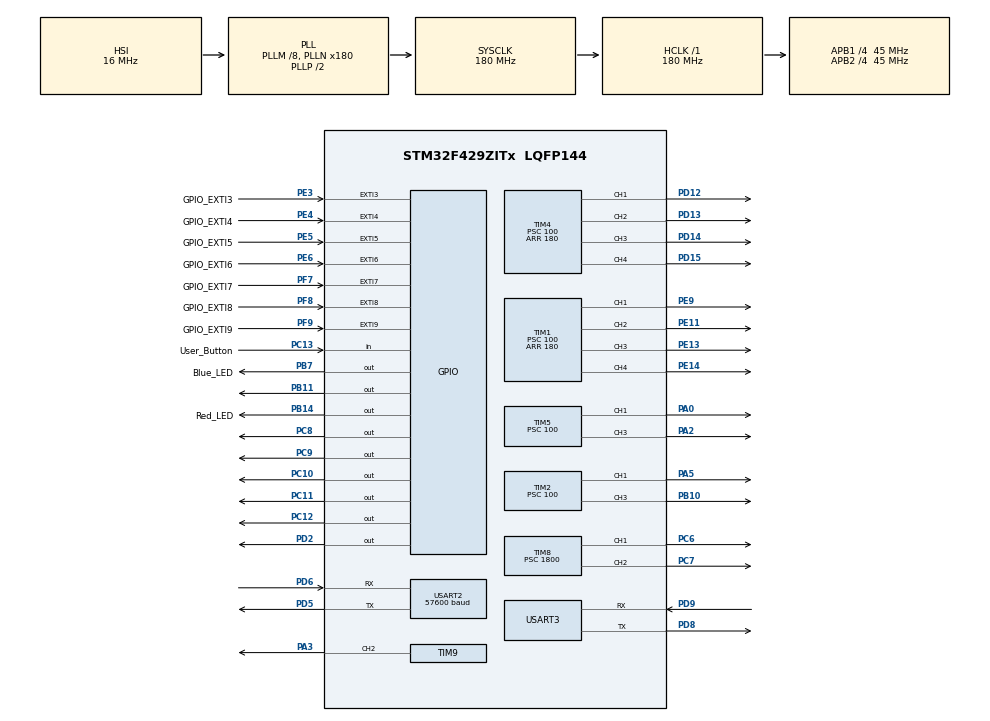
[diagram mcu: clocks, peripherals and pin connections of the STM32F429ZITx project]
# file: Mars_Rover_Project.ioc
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Mcu.Family=STM32F4
Mcu.Name=STM32F429ZITx
Mcu.Package=LQFP144
NVIC.EXTI3_IRQn=true\:0\:0\:false\:false\:true\:true
NVIC.EXTI4_IRQn=true\:0\:0\:false\:false\:true\:true
NVIC.EXTI9_5_IRQn=true\:0\:0\:false\:false\:true\:true
NVIC.PriorityGroup=NVIC_PRIORITYGROUP_4
NVIC.TIM1_TRG_COM_TIM11_IRQn=true\:0\:0\:false\:false\:true\:true
NVIC.TIM1_UP_TIM10_IRQn=true\:0\:0\:false\:false\:true\:true
NVIC.USART2_IRQn=true\:0\:0\:false\:false\:true\:true
NVIC.USART3_IRQn=true\:0\:0\:false\:false\:true\:true
PA0/WKUP.GPIO_ModeDefaultPP=GPIO_MODE_AF_PP
PA0/WKUP.GPIO_Speed=GPIO_SPEED_FREQ_HIGH
PA0/WKUP.Signal=S_TIM5_CH1
PA13.Mode=Serial_Wire
PA13.Signal=SYS_JTMS-SWDIO
PA14.Mode=Serial_Wire
PA14.Signal=SYS_JTCK-SWCLK
PA2.GPIO_ModeDefaultPP=GPIO_MODE_AF_PP
PA2.GPIO_Speed=GPIO_SPEED_FREQ_HIGH
PA2.Signal=S_TIM5_CH3
PA3.Signal=S_TIM9_CH2
PA5.GPIO_ModeDefaultPP=GPIO_MODE_AF_PP
PA5.GPIO_Speed=GPIO_SPEED_FREQ_HIGH
PA5.Signal=S_TIM2_CH1_ETR
PB10.GPIO_ModeDefaultPP=GPIO_MODE_AF_PP
PB10.GPIO_Speed=GPIO_SPEED_FREQ_HIGH
PB10.Signal=S_TIM2_CH3
PB11.GPIO_ModeDefaultOutputPP=GPIO_MODE_OUTPUT_OD
PB11.GPIO_Speed=GPIO_SPEED_FREQ_HIGH
PB11.PinState=GPIO_PIN_RESET
PB11.Signal=GPIO_Output
PB14.GPIO_Label=Red_LED
PB14.Signal=GPIO_Output
PB7.GPIO_Label=Blue_LED
PB7.Signal=GPIO_Output
PC10.Signal=GPIO_Output
PC11.Signal=GPIO_Output
PC12.Signal=GPIO_Output
PC13.GPIO_Label=User_Button
PC13.GPIO_PuPd=GPIO_PULLUP
PC13.Signal=GPIO_Input
PC14/OSC32_IN.Mode=LSE-External-Oscillator
PC14/OSC32_IN.Signal=RCC_OSC32_IN
PC15/OSC32_OUT.Mode=LSE-External-Oscillator
PC15/OSC32_OUT.Signal=RCC_OSC32_OUT
PC6.Signal=S_TIM8_CH1
PC7.Signal=S_TIM8_CH2
PC8.Signal=GPIO_Output
PC9.Signal=GPIO_Output
PD12.GPIO_ModeDefaultPP=GPIO_MODE_AF_PP
PD12.GPIO_Speed=GPIO_SPEED_FREQ_HIGH
PD12.Signal=S_TIM4_CH1
PD13.GPIO_ModeDefaultPP=GPIO_MODE_AF_PP
PD13.GPIO_Speed=GPIO_SPEED_FREQ_HIGH
PD13.Signal=S_TIM4_CH2
PD14.GPIO_ModeDefaultPP=GPIO_MODE_AF_PP
PD14.GPIO_Speed=GPIO_SPEED_FREQ_HIGH
PD14.Signal=S_TIM4_CH3
PD15.GPIO_ModeDefaultPP=GPIO_MODE_AF_PP
PD15.GPIO_Speed=GPIO_SPEED_FREQ_HIGH
PD15.Signal=S_TIM4_CH4
PD2.Signal=GPIO_Output
PD5.Mode=Asynchronous
PD5.Signal=USART2_TX
PD6.Mode=Asynchronous
PD6.Signal=USART2_RX
PD8.Mode=Asynchronous
PD8.Signal=USART3_TX
PD9.Mode=Asynchronous
PD9.Signal=USART3_RX
PE11.GPIO_ModeDefaultPP=GPIO_MODE_AF_PP
PE11.GPIO_Speed=GPIO_SPEED_FREQ_HIGH
PE11.Signal=S_TIM1_CH2
PE13.GPIO_ModeDefaultPP=GPIO_MODE_AF_PP
PE13.GPIO_Speed=GPIO_SPEED_FREQ_HIGH
PE13.Signal=S_TIM1_CH3
PE14.GPIO_ModeDefaultPP=GPIO_MODE_AF_PP
PE14.GPIO_Speed=GPIO_SPEED_FREQ_HIGH
PE14.Signal=S_TIM1_CH4
PE3.GPIO_Label=GPIO_EXTI3
PE3.GPIO_ModeDefaultEXTI=GPIO_MODE_IT_RISING
PE3.GPIO_PuPd=GPIO_PULLUP
PE3.Signal=GPXTI3
PE4.GPIO_Label=GPIO_EXTI4
PE4.GPIO_ModeDefaultEXTI=GPIO_MODE_IT_RISING
PE4.GPIO_PuPd=GPIO_PULLUP
PE4.Signal=GPXTI4
PE5.GPIO_Label=GPIO_EXTI5
PE5.GPIO_ModeDefaultEXTI=GPIO_MODE_IT_RISING
PE5.GPIO_PuPd=GPIO_PULLUP
PE5.Signal=GPXTI5
PE6.GPIO_Label=GPIO_EXTI6
PE6.GPIO_ModeDefaultEXTI=GPIO_MODE_IT_RISING
PE6.GPIO_PuPd=GPIO_PULLUP
PE6.Signal=GPXTI6
PE9.GPIO_ModeDefaultPP=GPIO_MODE_AF_PP
PE9.GPIO_Speed=GPIO_SPEED_FREQ_HIGH
PE9.Signal=S_TIM1_CH1
PF7.GPIO_Label=GPIO_EXTI7
PF7.GPIO_ModeDefaultEXTI=GPIO_MODE_IT_RISING
PF7.GPIO_PuPd=GPIO_PULLUP
PF7.Signal=GPXTI7
PF8.GPIO_Label=GPIO_EXTI8
PF8.GPIO_ModeDefaultEXTI=GPIO_MODE_IT_RISING
PF8.GPIO_PuPd=GPIO_PULLUP
PF8.Signal=GPXTI8
PF9.GPIO_Label=GPIO_EXTI9
PF9.GPIO_ModeDefaultEXTI=GPIO_MODE_IT_RISING
PF9.GPIO_PuPd=GPIO_PULLUP
PF9.Signal=GPXTI9
ProjectManager.HeapSize=0x200
ProjectManager.StackSize=0x400
ProjectManager.TargetToolchain=SW4STM32
RCC.48MHZClocksFreq_Value=90000000
RCC.AHBFreq_Value=180000000
RCC.APB1CLKDivider=RCC_HCLK_DIV4
RCC.APB1Freq_Value=45000000
RCC.APB1TimFreq_Value=90000000
RCC.APB2CLKDivider=RCC_HCLK_DIV4
RCC.APB2Freq_Value=45000000
RCC.APB2TimFreq_Value=90000000
RCC.CortexFreq_Value=180000000
RCC.HCLKFreq_Value=180000000
RCC.HSE_VALUE=25000000
RCC.HSI_VALUE=16000000
RCC.PLLM=8
RCC.PLLN=180
RCC.RCC_RTC_Clock_Source=RCC_RTCCLKSOURCE_LSE
RCC.RCC_RTC_Clock_SourceVirtual=RCC_RTCCLKSOURCE_LSE
RCC.SYSCLKFreq_VALUE=180000000
RCC.SYSCLKSource=RCC_SYSCLKSOURCE_PLLCLK
RCC.VCOOutputFreq_Value=360000000
SH.S_TIM1_CH1.0=TIM1_CH1,PWM Generation1 CH1
SH.S_TIM1_CH2.0=TIM1_CH2,PWM Generation2 CH2
SH.S_TIM1_CH3.0=TIM1_CH3,PWM Generation3 CH3
SH.S_TIM1_CH4.0=TIM1_CH4,PWM Generation4 CH4
SH.S_TIM2_CH1_ETR.0=TIM2_CH1,PWM Generation1 CH1
SH.S_TIM2_CH3.0=TIM2_CH3,PWM Generation3 CH3
SH.S_TIM4_CH1.0=TIM4_CH1,PWM Generation1 CH1
SH.S_TIM4_CH2.0=TIM4_CH2,PWM Generation2 CH2
SH.S_TIM4_CH3.0=TIM4_CH3,PWM Generation3 CH3
SH.S_TIM4_CH4.0=TIM4_CH4,PWM Generation4 CH4
SH.S_TIM5_CH1.0=TIM5_CH1,PWM Generation1 CH1
SH.S_TIM5_CH3.0=TIM5_CH3,PWM Generation3 CH3
SH.S_TIM8_CH1.0=TIM8_CH1,PWM Generation1 CH1
SH.S_TIM8_CH2.0=TIM8_CH2,PWM Generation2 CH2
SH.S_TIM9_CH2.0=TIM9_CH2,PWM Generation2 CH2
TIM1.Channel-PWM\ Generation1\ CH1=TIM_CHANNEL_1
TIM1.Channel-PWM\ Generation2\ CH2=TIM_CHANNEL_2
TIM1.Channel-PWM\ Generation3\ CH3=TIM_CHANNEL_3
TIM1.Channel-PWM\ Generation4\ CH4=TIM_CHANNEL_4
TIM1.OCFastMode_PWM-PWM\ Generation1\ CH1=TIM_OCFAST_ENABLE
TIM1.OCFastMode_PWM-PWM\ Generation2\ CH2=TIM_OCFAST_ENABLE
TIM1.OCFastMode_PWM-PWM\ Generation3\ CH3=TIM_OCFAST_ENABLE
TIM1.OCFastMode_PWM-PWM\ Generation4\ CH4=TIM_OCFAST_ENABLE
TIM1.Period=180
TIM1.Prescaler=100
TIM2.Channel-PWM\ Generation1\ CH1=TIM_CHANNEL_1
TIM2.Channel-PWM\ Generation3\ CH3=TIM_CHANNEL_3
TIM2.OCFastMode_PWM-PWM\ Generation1\ CH1=TIM_OCFAST_ENABLE
TIM2.OCFastMode_PWM-PWM\ Generation3\ CH3=TIM_OCFAST_ENABLE
TIM2.OCMode_PWM-PWM\ Generation1\ CH1=TIM_OCMODE_PWM1
TIM2.OCMode_PWM-PWM\ Generation3\ CH3=TIM_OCMODE_PWM1
TIM2.OCPolarity_3=TIM_OCPOLARITY_HIGH
TIM2.Period=180
TIM2.Prescaler=100
TIM2.Pulse-PWM\ Generation1\ CH1=0
TIM2.Pulse-PWM\ Generation3\ CH3=0
TIM3.Period=40000
TIM3.Prescaler=45
TIM4.Channel-PWM\ Generation1\ CH1=TIM_CHANNEL_1
TIM4.Channel-PWM\ Generation2\ CH2=TIM_CHANNEL_2
TIM4.Channel-PWM\ Generation3\ CH3=TIM_CHANNEL_3
TIM4.Channel-PWM\ Generation4\ CH4=TIM_CHANNEL_4
TIM4.OCFastMode_PWM-PWM\ Generation1\ CH1=TIM_OCFAST_ENABLE
TIM4.OCFastMode_PWM-PWM\ Generation2\ CH2=TIM_OCFAST_ENABLE
TIM4.OCFastMode_PWM-PWM\ Generation3\ CH3=TIM_OCFAST_ENABLE
TIM4.OCFastMode_PWM-PWM\ Generation4\ CH4=TIM_OCFAST_ENABLE
TIM4.Period=180
TIM4.Prescaler=100
TIM5.Channel-PWM\ Generation1\ CH1=TIM_CHANNEL_1
TIM5.Channel-PWM\ Generation3\ CH3=TIM_CHANNEL_3
TIM5.OCFastMode_PWM-PWM\ Generation1\ CH1=TIM_OCFAST_ENABLE
TIM5.Period=180
TIM5.Prescaler=100
TIM8.Channel-PWM\ Generation1\ CH1=TIM_CHANNEL_1
TIM8.Channel-PWM\ Generation2\ CH2=TIM_CHANNEL_2
TIM8.Period=1000
TIM8.Prescaler=1800
TIM8.Pulse-PWM\ Generation1\ CH1=50
TIM8.Pulse-PWM\ Generation2\ CH2=250
TIM9.Channel-PWM\ Generation2\ CH2=TIM_CHANNEL_2
TIM9.Period=1000
TIM9.Prescaler=1800
TIM9.Pulse-PWM\ Generation2\ CH2=250
USART2.BaudRate=57600
USART2.VirtualMode=VM_ASYNC
USART3.VirtualMode=VM_ASYNC
VP_RTC_VS_RTC_Activate.Mode=RTC_Enabled
VP_TIM1_VS_ClockSourceINT.Mode=Internal
VP_TIM2_VS_ClockSourceINT.Mode=Internal
VP_TIM3_VS_ClockSourceINT.Mode=Internal
VP_TIM4_VS_ClockSourceINT.Mode=Internal
VP_TIM5_VS_ClockSourceINT.Mode=Internal
board=custom

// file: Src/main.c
/**
  ******************************************************************************
  * @file           : main.c
  * @brief          : Main program body
  ******************************************************************************
  ** This notice applies to any and all portions of this file
  * that are not between comment pairs USER CODE BEGIN and
  * USER CODE END. Other portions of this file, whether
  * inserted by the user or by software development tools
  * are owned by their respective copyright owners.
  *
  * COPYRIGHT(c) 2018 STMicroelectronics
  *
  * Redistribution and use in source and binary forms, with or without modification,
  * are permitted provided that the following conditions are met:
  *   1. Redistributions of source code must retain the above copyright notice,
  *      this list of conditions and the following disclaimer.
  *   2. Redistributions in binary form must reproduce the above copyright notice,
  *      this list of conditions and the following disclaimer in the documentation
  *      and/or other materials provided with the distribution.
  *   3. Neither the name of STMicroelectronics nor the names of its contributors
  *      may be used to endorse or promote products derived from this software
  *      without specific prior written permission.
  *
  * THIS SOFTWARE IS PROVIDED BY THE COPYRIGHT HOLDERS AND CONTRIBUTORS "AS IS"
  * AND ANY EXPRESS OR IMPLIED WARRANTIES, INCLUDING, BUT NOT LIMITED TO, THE
  * IMPLIED WARRANTIES OF MERCHANTABILITY AND FITNESS FOR A PARTICULAR PURPOSE ARE
  * DISCLAIMED. IN NO EVENT SHALL THE COPYRIGHT HOLDER OR CONTRIBUTORS BE LIABLE
  * FOR ANY DIRECT, INDIRECT, INCIDENTAL, SPECIAL, EXEMPLARY, OR CONSEQUENTIAL
  * DAMAGES (INCLUDING, BUT NOT LIMITED TO, PROCUREMENT OF SUBSTITUTE GOODS OR
  * SERVICES; LOSS OF USE, DATA, OR PROFITS; OR BUSINESS INTERRUPTION) HOWEVER
  * CAUSED AND ON ANY THEORY OF LIABILITY, WHETHER IN CONTRACT, STRICT LIABILITY,
  * OR TORT (INCLUDING NEGLIGENCE OR OTHERWISE) ARISING IN ANY WAY OUT OF THE USE
  * OF THIS SOFTWARE, EVEN IF ADVISED OF THE POSSIBILITY OF SUCH DAMAGE.
  *
  ******************************************************************************
  */
#include "main.h"
#include "stm32f4xx_hal.h"

/* USER CODE BEGIN Includes */
#include "Robot_kjy.h"
#include "Robot_lwj.h"
#include "Robot_jhm.h"
#include "Robot_khy.h"
#include "robotics_arm.h"
#include <string.h>
/* USER CODE END Includes */

RTC_HandleTypeDef hrtc;

TIM_HandleTypeDef htim1;
TIM_HandleTypeDef htim2;
TIM_HandleTypeDef htim3;
TIM_HandleTypeDef htim4;
TIM_HandleTypeDef htim5;
TIM_HandleTypeDef htim8;
TIM_HandleTypeDef htim9;

UART_HandleTypeDef huart2;
UART_HandleTypeDef huart3;

/* USER CODE BEGIN PV */

//  1탭은 4스페이스

/* Private variables ---------------------------------------------------------*/

// Wheel_Speed, 이곳에 값을 이용.
volatile uint32_t Wheel_Speed;
volatile uint32_t Break_PWM;

/* USER CODE END PV */

void SystemClock_Config(void);
static void MX_GPIO_Init(void);
static void MX_USART3_UART_Init(void);
static void MX_TIM1_Init(void);
static void MX_TIM2_Init(void);
static void MX_RTC_Init(void);
static void MX_TIM3_Init(void);
static void MX_TIM4_Init(void);
static void MX_TIM5_Init(void);
static void MX_TIM8_Init(void);
static void MX_USART2_UART_Init(void);
static void MX_TIM9_Init(void);

void HAL_TIM_MspPostInit(TIM_HandleTypeDef *htim);

/* USER CODE BEGIN PFP */
/* Private function prototypes -----------------------------------------------*/

/*
 * 타이머 업데이트 콜백함수
 * 인터럽트에 맞춰 실행할 함수나 코드를 작성하여 밑에다가 작성
 * 작성시 if문을 사용하여 htim->instance 의 TIM이 몇인지 확인하고 실행하는 코드를 사용
 * ex)  if(htim->instance == TIM10){}
 * */

void HAL_GPIO_EXTI_Callback(uint16_t GPIO_Pin)
{
    RC_Return_dutycycle(GPIO_Pin);
}
/* USER CODE END PFP */

int main(void)
{

  /* MCU Configuration----------------------------------------------------------*/

  /* Reset of all peripherals, Initializes the Flash interface and the Systick. */
  HAL_Init();

  /* Configure the system clock */
  SystemClock_Config();

  /* Initialize all configured peripherals */
  MX_GPIO_Init();
  MX_USART3_UART_Init();
  MX_TIM1_Init();
  MX_TIM2_Init();
  MX_RTC_Init();
  MX_TIM3_Init();
  MX_TIM4_Init();
  MX_TIM5_Init();
  MX_TIM8_Init();
  MX_USART2_UART_Init();
  MX_TIM9_Init();
  /* USER CODE BEGIN 2 */

  HAL_TIM_PWM_Start_IT(&htim1, TIM_CHANNEL_1);	// 6개 바퀴 PWM발생. (주기 5kHz 발생)
  HAL_TIM_PWM_Start_IT(&htim1, TIM_CHANNEL_2);
  HAL_TIM_PWM_Start_IT(&htim1, TIM_CHANNEL_3);
  HAL_TIM_PWM_Start_IT(&htim1, TIM_CHANNEL_4);
  HAL_TIM_PWM_Start_IT(&htim2, TIM_CHANNEL_1);
  HAL_TIM_PWM_Start_IT(&htim2, TIM_CHANNEL_3);

  HAL_TIM_PWM_Start_IT(&htim4, TIM_CHANNEL_1);  // 6개 바퀴 PWM발생. (주기 5kHz 발생)
  HAL_TIM_PWM_Start_IT(&htim4, TIM_CHANNEL_2);
  HAL_TIM_PWM_Start_IT(&htim4, TIM_CHANNEL_3);
  HAL_TIM_PWM_Start_IT(&htim4, TIM_CHANNEL_4);
  HAL_TIM_PWM_Start_IT(&htim5, TIM_CHANNEL_1);
  HAL_TIM_PWM_Start_IT(&htim5, TIM_CHANNEL_3);

  HAL_TIM_Base_Start(&htim3);
  TIM3->CNT = 0;
  uint32_t mode;
  ARM_init();
  /* USER CODE END 2 */

  /* Infinite loop */
  /* USER CODE BEGIN WHILE */
  while (1)
  {
    mode = Mode_select();
    BUGI_DriveMode(mode);

  /* USER CODE END WHILE */

  }

}

void SystemClock_Config(void)
{

  RCC_OscInitTypeDef RCC_OscInitStruct;
  RCC_ClkInitTypeDef RCC_ClkInitStruct;
  RCC_PeriphCLKInitTypeDef PeriphClkInitStruct;

    /**Configure the main internal regulator output voltage
    */
  __HAL_RCC_PWR_CLK_ENABLE();

  __HAL_PWR_VOLTAGESCALING_CONFIG(PWR_REGULATOR_VOLTAGE_SCALE1);

    /**Initializes the CPU, AHB and APB busses clocks
    */
  RCC_OscInitStruct.OscillatorType = RCC_OSCILLATORTYPE_HSI|RCC_OSCILLATORTYPE_LSE;
  RCC_OscInitStruct.LSEState = RCC_LSE_ON;
  RCC_OscInitStruct.HSIState = RCC_HSI_ON;
  RCC_OscInitStruct.HSICalibrationValue = 16;
  RCC_OscInitStruct.PLL.PLLState = RCC_PLL_ON;
  RCC_OscInitStruct.PLL.PLLSource = RCC_PLLSOURCE_HSI;
  RCC_OscInitStruct.PLL.PLLM = 8;
  RCC_OscInitStruct.PLL.PLLN = 180;
  RCC_OscInitStruct.PLL.PLLP = RCC_PLLP_DIV2;
  RCC_OscInitStruct.PLL.PLLQ = 4;
  if (HAL_RCC_OscConfig(&RCC_OscInitStruct) != HAL_OK)
  {
    _Error_Handler(__FILE__, __LINE__);
  }

    /**Activate the Over-Drive mode
    */
  if (HAL_PWREx_EnableOverDrive() != HAL_OK)
  {
    _Error_Handler(__FILE__, __LINE__);
  }

    /**Initializes the CPU, AHB and APB busses clocks
    */
  RCC_ClkInitStruct.ClockType = RCC_CLOCKTYPE_HCLK|RCC_CLOCKTYPE_SYSCLK
                              |RCC_CLOCKTYPE_PCLK1|RCC_CLOCKTYPE_PCLK2;
  RCC_ClkInitStruct.SYSCLKSource = RCC_SYSCLKSOURCE_PLLCLK;
  RCC_ClkInitStruct.AHBCLKDivider = RCC_SYSCLK_DIV1;
  RCC_ClkInitStruct.APB1CLKDivider = RCC_HCLK_DIV4;
  RCC_ClkInitStruct.APB2CLKDivider = RCC_HCLK_DIV4;

  if (HAL_RCC_ClockConfig(&RCC_ClkInitStruct, FLASH_LATENCY_5) != HAL_OK)
  {
    _Error_Handler(__FILE__, __LINE__);
  }

  PeriphClkInitStruct.PeriphClockSelection = RCC_PERIPHCLK_RTC;
  PeriphClkInitStruct.RTCClockSelection = RCC_RTCCLKSOURCE_LSE;
  if (HAL_RCCEx_PeriphCLKConfig(&PeriphClkInitStruct) != HAL_OK)
  {
    _Error_Handler(__FILE__, __LINE__);
  }

    /**Configure the Systick interrupt time
    */
  HAL_SYSTICK_Config(HAL_RCC_GetHCLKFreq()/1000);

    /**Configure the Systick
    */
  HAL_SYSTICK_CLKSourceConfig(SYSTICK_CLKSOURCE_HCLK);

  /* SysTick_IRQn interrupt configuration */
  HAL_NVIC_SetPriority(SysTick_IRQn, 0, 0);
}

/* RTC init function */
static void MX_RTC_Init(void)
{

    /**Initialize RTC Only
    */
  hrtc.Instance = RTC;
  hrtc.Init.HourFormat = RTC_HOURFORMAT_24;
  hrtc.Init.AsynchPrediv = 127;
  hrtc.Init.SynchPrediv = 255;
  hrtc.Init.OutPut = RTC_OUTPUT_DISABLE;
  hrtc.Init.OutPutPolarity = RTC_OUTPUT_POLARITY_HIGH;
  hrtc.Init.OutPutType = RTC_OUTPUT_TYPE_OPENDRAIN;
  if (HAL_RTC_Init(&hrtc) != HAL_OK)
  {
    _Error_Handler(__FILE__, __LINE__);
  }

}

/* TIM1 init function */
static void MX_TIM1_Init(void)
{

  TIM_ClockConfigTypeDef sClockSourceConfig;
  TIM_MasterConfigTypeDef sMasterConfig;
  TIM_OC_InitTypeDef sConfigOC;
  TIM_BreakDeadTimeConfigTypeDef sBreakDeadTimeConfig;

  htim1.Instance = TIM1;
  htim1.Init.Prescaler = 100;
  htim1.Init.CounterMode = TIM_COUNTERMODE_UP;
  htim1.Init.Period = 180;
  htim1.Init.ClockDivision = TIM_CLOCKDIVISION_DIV1;
  htim1.Init.RepetitionCounter = 0;
  if (HAL_TIM_Base_Init(&htim1) != HAL_OK)
  {
    _Error_Handler(__FILE__, __LINE__);
  }

  sClockSourceConfig.ClockSource = TIM_CLOCKSOURCE_INTERNAL;
  if (HAL_TIM_ConfigClockSource(&htim1, &sClockSourceConfig) != HAL_OK)
  {
    _Error_Handler(__FILE__, __LINE__);
  }

  if (HAL_TIM_PWM_Init(&htim1) != HAL_OK)
  {
    _Error_Handler(__FILE__, __LINE__);
  }

  sMasterConfig.MasterOutputTrigger = TIM_TRGO_RESET;
  sMasterConfig.MasterSlaveMode = TIM_MASTERSLAVEMODE_DISABLE;
  if (HAL_TIMEx_MasterConfigSynchronization(&htim1, &sMasterConfig) != HAL_OK)
  {
    _Error_Handler(__FILE__, __LINE__);
  }

  sConfigOC.OCMode = TIM_OCMODE_PWM1;
  sConfigOC.Pulse = 0;
  sConfigOC.OCPolarity = TIM_OCPOLARITY_HIGH;
  sConfigOC.OCNPolarity = TIM_OCNPOLARITY_HIGH;
  sConfigOC.OCFastMode = TIM_OCFAST_ENABLE;
  sConfigOC.OCIdleState = TIM_OCIDLESTATE_RESET;
  sConfigOC.OCNIdleState = TIM_OCNIDLESTATE_RESET;
  if (HAL_TIM_PWM_ConfigChannel(&htim1, &sConfigOC, TIM_CHANNEL_1) != HAL_OK)
  {
    _Error_Handler(__FILE__, __LINE__);
  }

  if (HAL_TIM_PWM_ConfigChannel(&htim1, &sConfigOC, TIM_CHANNEL_2) != HAL_OK)
  {
    _Error_Handler(__FILE__, __LINE__);
  }

  if (HAL_TIM_PWM_ConfigChannel(&htim1, &sConfigOC, TIM_CHANNEL_3) != HAL_OK)
  {
    _Error_Handler(__FILE__, __LINE__);
  }

  if (HAL_TIM_PWM_ConfigChannel(&htim1, &sConfigOC, TIM_CHANNEL_4) != HAL_OK)
  {
    _Error_Handler(__FILE__, __LINE__);
  }

  sBreakDeadTimeConfig.OffStateRunMode = TIM_OSSR_DISABLE;
  sBreakDeadTimeConfig.OffStateIDLEMode = TIM_OSSI_DISABLE;
  sBreakDeadTimeConfig.LockLevel = TIM_LOCKLEVEL_OFF;
  sBreakDeadTimeConfig.DeadTime = 0;
  sBreakDeadTimeConfig.BreakState = TIM_BREAK_DISABLE;
  sBreakDeadTimeConfig.BreakPolarity = TIM_BREAKPOLARITY_HIGH;
  sBreakDeadTimeConfig.AutomaticOutput = TIM_AUTOMATICOUTPUT_DISABLE;
  if (HAL_TIMEx_ConfigBreakDeadTime(&htim1, &sBreakDeadTimeConfig) != HAL_OK)
  {
    _Error_Handler(__FILE__, __LINE__);
  }

  HAL_TIM_MspPostInit(&htim1);

}

/* TIM2 init function */
static void MX_TIM2_Init(void)
{

  TIM_ClockConfigTypeDef sClockSourceConfig;
  TIM_MasterConfigTypeDef sMasterConfig;
  TIM_OC_InitTypeDef sConfigOC;

  htim2.Instance = TIM2;
  htim2.Init.Prescaler = 100;
  htim2.Init.CounterMode = TIM_COUNTERMODE_UP;
  htim2.Init.Period = 180;
  htim2.Init.ClockDivision = TIM_CLOCKDIVISION_DIV1;
  if (HAL_TIM_Base_Init(&htim2) != HAL_OK)
  {
    _Error_Handler(__FILE__, __LINE__);
  }

  sClockSourceConfig.ClockSource = TIM_CLOCKSOURCE_INTERNAL;
  if (HAL_TIM_ConfigClockSource(&htim2, &sClockSourceConfig) != HAL_OK)
  {
    _Error_Handler(__FILE__, __LINE__);
  }

  if (HAL_TIM_PWM_Init(&htim2) != HAL_OK)
  {
    _Error_Handler(__FILE__, __LINE__);
  }

  sMasterConfig.MasterOutputTrigger = TIM_TRGO_RESET;
  sMasterConfig.MasterSlaveMode = TIM_MASTERSLAVEMODE_DISABLE;
  if (HAL_TIMEx_MasterConfigSynchronization(&htim2, &sMasterConfig) != HAL_OK)
  {
    _Error_Handler(__FILE__, __LINE__);
  }

  sConfigOC.OCMode = TIM_OCMODE_PWM1;
  sConfigOC.Pulse = 0;
  sConfigOC.OCPolarity = TIM_OCPOLARITY_HIGH;
  sConfigOC.OCFastMode = TIM_OCFAST_ENABLE;
  if (HAL_TIM_PWM_ConfigChannel(&htim2, &sConfigOC, TIM_CHANNEL_1) != HAL_OK)
  {
    _Error_Handler(__FILE__, __LINE__);
  }

  if (HAL_TIM_PWM_ConfigChannel(&htim2, &sConfigOC, TIM_CHANNEL_3) != HAL_OK)
  {
    _Error_Handler(__FILE__, __LINE__);
  }

  HAL_TIM_MspPostInit(&htim2);

}

/* TIM3 init function */
static void MX_TIM3_Init(void)
{

  TIM_ClockConfigTypeDef sClockSourceConfig;
  TIM_MasterConfigTypeDef sMasterConfig;

  htim3.Instance = TIM3;
  htim3.Init.Prescaler = 45;
  htim3.Init.CounterMode = TIM_COUNTERMODE_UP;
  htim3.Init.Period = 40000;
  htim3.Init.ClockDivision = TIM_CLOCKDIVISION_DIV1;
  if (HAL_TIM_Base_Init(&htim3) != HAL_OK)
  {
    _Error_Handler(__FILE__, __LINE__);
  }

  sClockSourceConfig.ClockSource = TIM_CLOCKSOURCE_INTERNAL;
  if (HAL_TIM_ConfigClockSource(&htim3, &sClockSourceConfig) != HAL_OK)
  {
    _Error_Handler(__FILE__, __LINE__);
  }

  sMasterConfig.MasterOutputTrigger = TIM_TRGO_RESET;
  sMasterConfig.MasterSlaveMode = TIM_MASTERSLAVEMODE_DISABLE;
  if (HAL_TIMEx_MasterConfigSynchronization(&htim3, &sMasterConfig) != HAL_OK)
  {
    _Error_Handler(__FILE__, __LINE__);
  }

}

/* TIM4 init function */
static void MX_TIM4_Init(void)
{

  TIM_ClockConfigTypeDef sClockSourceConfig;
  TIM_MasterConfigTypeDef sMasterConfig;
  TIM_OC_InitTypeDef sConfigOC;

  htim4.Instance = TIM4;
  htim4.Init.Prescaler = 100;
  htim4.Init.CounterMode = TIM_COUNTERMODE_UP;
  htim4.Init.Period = 180;
  htim4.Init.ClockDivision = TIM_CLOCKDIVISION_DIV1;
  if (HAL_TIM_Base_Init(&htim4) != HAL_OK)
  {
    _Error_Handler(__FILE__, __LINE__);
  }

  sClockSourceConfig.ClockSource = TIM_CLOCKSOURCE_INTERNAL;
  if (HAL_TIM_ConfigClockSource(&htim4, &sClockSourceConfig) != HAL_OK)
  {
    _Error_Handler(__FILE__, __LINE__);
  }

  if (HAL_TIM_PWM_Init(&htim4) != HAL_OK)
  {
    _Error_Handler(__FILE__, __LINE__);
  }

  sMasterConfig.MasterOutputTrigger = TIM_TRGO_RESET;
  sMasterConfig.MasterSlaveMode = TIM_MASTERSLAVEMODE_DISABLE;
  if (HAL_TIMEx_MasterConfigSynchronization(&htim4, &sMasterConfig) != HAL_OK)
  {
    _Error_Handler(__FILE__, __LINE__);
  }

  sConfigOC.OCMode = TIM_OCMODE_PWM1;
  sConfigOC.Pulse = 0;
  sConfigOC.OCPolarity = TIM_OCPOLARITY_HIGH;
  sConfigOC.OCFastMode = TIM_OCFAST_ENABLE;
  if (HAL_TIM_PWM_ConfigChannel(&htim4, &sConfigOC, TIM_CHANNEL_1) != HAL_OK)
  {
    _Error_Handler(__FILE__, __LINE__);
  }

  if (HAL_TIM_PWM_ConfigChannel(&htim4, &sConfigOC, TIM_CHANNEL_2) != HAL_OK)
  {
    _Error_Handler(__FILE__, __LINE__);
  }

  if (HAL_TIM_PWM_ConfigChannel(&htim4, &sConfigOC, TIM_CHANNEL_3) != HAL_OK)
  {
    _Error_Handler(__FILE__, __LINE__);
  }

  if (HAL_TIM_PWM_ConfigChannel(&htim4, &sConfigOC, TIM_CHANNEL_4) != HAL_OK)
  {
    _Error_Handler(__FILE__, __LINE__);
  }

  HAL_TIM_MspPostInit(&htim4);

}

/* TIM5 init function */
static void MX_TIM5_Init(void)
{

  TIM_ClockConfigTypeDef sClockSourceConfig;
  TIM_MasterConfigTypeDef sMasterConfig;
  TIM_OC_InitTypeDef sConfigOC;

  htim5.Instance = TIM5;
  htim5.Init.Prescaler = 100;
  htim5.Init.CounterMode = TIM_COUNTERMODE_UP;
  htim5.Init.Period = 180;
  htim5.Init.ClockDivision = TIM_CLOCKDIVISION_DIV1;
  if (HAL_TIM_Base_Init(&htim5) != HAL_OK)
  {
    _Error_Handler(__FILE__, __LINE__);
  }

  sClockSourceConfig.ClockSource = TIM_CLOCKSOURCE_INTERNAL;
  if (HAL_TIM_ConfigClockSource(&htim5, &sClockSourceConfig) != HAL_OK)
  {
    _Error_Handler(__FILE__, __LINE__);
  }

  if (HAL_TIM_PWM_Init(&htim5) != HAL_OK)
  {
    _Error_Handler(__FILE__, __LINE__);
  }

  sMasterConfig.MasterOutputTrigger = TIM_TRGO_RESET;
  sMasterConfig.MasterSlaveMode = TIM_MASTERSLAVEMODE_DISABLE;
  if (HAL_TIMEx_MasterConfigSynchronization(&htim5, &sMasterConfig) != HAL_OK)
  {
    _Error_Handler(__FILE__, __LINE__);
  }

  sConfigOC.OCMode = TIM_OCMODE_PWM1;
  sConfigOC.Pulse = 0;
  sConfigOC.OCPolarity = TIM_OCPOLARITY_HIGH;
  sConfigOC.OCFastMode = TIM_OCFAST_ENABLE;
  if (HAL_TIM_PWM_ConfigChannel(&htim5, &sConfigOC, TIM_CHANNEL_1) != HAL_OK)
  {
    _Error_Handler(__FILE__, __LINE__);
  }

  sConfigOC.OCFastMode = TIM_OCFAST_DISABLE;
  if (HAL_TIM_PWM_ConfigChannel(&htim5, &sConfigOC, TIM_CHANNEL_3) != HAL_OK)
  {
    _Error_Handler(__FILE__, __LINE__);
  }

  HAL_TIM_MspPostInit(&htim5);

}

/* TIM8 init function */
static void MX_TIM8_Init(void)
{

  TIM_MasterConfigTypeDef sMasterConfig;
  TIM_OC_InitTypeDef sConfigOC;
  TIM_BreakDeadTimeConfigTypeDef sBreakDeadTimeConfig;

  htim8.Instance = TIM8;
  htim8.Init.Prescaler = 1800;
  htim8.Init.CounterMode = TIM_COUNTERMODE_UP;
  htim8.Init.Period = 1000;
  htim8.Init.ClockDivision = TIM_CLOCKDIVISION_DIV1;
  htim8.Init.RepetitionCounter = 0;
  if (HAL_TIM_PWM_Init(&htim8) != HAL_OK)
  {
    _Error_Handler(__FILE__, __LINE__);
  }

  sMasterConfig.MasterOutputTrigger = TIM_TRGO_RESET;
  sMasterConfig.MasterSlaveMode = TIM_MASTERSLAVEMODE_DISABLE;
  if (HAL_TIMEx_MasterConfigSynchronization(&htim8, &sMasterConfig) != HAL_OK)
  {
    _Error_Handler(__FILE__, __LINE__);
  }

  sConfigOC.OCMode = TIM_OCMODE_PWM1;
  sConfigOC.Pulse = 50;
  sConfigOC.OCPolarity = TIM_OCPOLARITY_HIGH;
  sConfigOC.OCNPolarity = TIM_OCNPOLARITY_HIGH;
  sConfigOC.OCFastMode = TIM_OCFAST_DISABLE;
  sConfigOC.OCIdleState = TIM_OCIDLESTATE_RESET;
  sConfigOC.OCNIdleState = TIM_OCNIDLESTATE_RESET;
  if (HAL_TIM_PWM_ConfigChannel(&htim8, &sConfigOC, TIM_CHANNEL_1) != HAL_OK)
  {
    _Error_Handler(__FILE__, __LINE__);
  }

  sConfigOC.Pulse = 250;
  if (HAL_TIM_PWM_ConfigChannel(&htim8, &sConfigOC, TIM_CHANNEL_2) != HAL_OK)
  {
    _Error_Handler(__FILE__, __LINE__);
  }

  sBreakDeadTimeConfig.OffStateRunMode = TIM_OSSR_DISABLE;
  sBreakDeadTimeConfig.OffStateIDLEMode = TIM_OSSI_DISABLE;
  sBreakDeadTimeConfig.LockLevel = TIM_LOCKLEVEL_OFF;
  sBreakDeadTimeConfig.DeadTime = 0;
  sBreakDeadTimeConfig.BreakState = TIM_BREAK_DISABLE;
  sBreakDeadTimeConfig.BreakPolarity = TIM_BREAKPOLARITY_HIGH;
  sBreakDeadTimeConfig.AutomaticOutput = TIM_AUTOMATICOUTPUT_DISABLE;
  if (HAL_TIMEx_ConfigBreakDeadTime(&htim8, &sBreakDeadTimeConfig) != HAL_OK)
  {
    _Error_Handler(__FILE__, __LINE__);
  }

  HAL_TIM_MspPostInit(&htim8);

}

/* TIM9 init function */
static void MX_TIM9_Init(void)
{

  TIM_OC_InitTypeDef sConfigOC;

  htim9.Instance = TIM9;
  htim9.Init.Prescaler = 1800;
  htim9.Init.CounterMode = TIM_COUNTERMODE_UP;
  htim9.Init.Period = 1000;
  htim9.Init.ClockDivision = TIM_CLOCKDIVISION_DIV1;
  if (HAL_TIM_PWM_Init(&htim9) != HAL_OK)
  {
    _Error_Handler(__FILE__, __LINE__);
  }

  sConfigOC.OCMode = TIM_OCMODE_PWM1;
  sConfigOC.Pulse = 250;
  sConfigOC.OCPolarity = TIM_OCPOLARITY_HIGH;
  sConfigOC.OCFastMode = TIM_OCFAST_DISABLE;
  if (HAL_TIM_PWM_ConfigChannel(&htim9, &sConfigOC, TIM_CHANNEL_2) != HAL_OK)
  {
    _Error_Handler(__FILE__, __LINE__);
  }

  HAL_TIM_MspPostInit(&htim9);

}

/* USART2 init function */
static void MX_USART2_UART_Init(void)
{

  huart2.Instance = USART2;
  huart2.Init.BaudRate = 57600;
  huart2.Init.WordLength = UART_WORDLENGTH_8B;
  huart2.Init.StopBits = UART_STOPBITS_1;
  huart2.Init.Parity = UART_PARITY_NONE;
  huart2.Init.Mode = UART_MODE_TX_RX;
  huart2.Init.HwFlowCtl = UART_HWCONTROL_NONE;
  huart2.Init.OverSampling = UART_OVERSAMPLING_16;
  if (HAL_UART_Init(&huart2) != HAL_OK)
  {
    _Error_Handler(__FILE__, __LINE__);
  }

}

/* USART3 init function */
static void MX_USART3_UART_Init(void)
{

  huart3.Instance = USART3;
  huart3.Init.BaudRate = 115200;
  huart3.Init.WordLength = UART_WORDLENGTH_8B;
  huart3.Init.StopBits = UART_STOPBITS_1;
  huart3.Init.Parity = UART_PARITY_NONE;
  huart3.Init.Mode = UART_MODE_TX_RX;
  huart3.Init.HwFlowCtl = UART_HWCONTROL_NONE;
  huart3.Init.OverSampling = UART_OVERSAMPLING_16;
  if (HAL_UART_Init(&huart3) != HAL_OK)
  {
    _Error_Handler(__FILE__, __LINE__);
  }

}

/** Configure pins as
        * Analog
        * Input
        * Output
        * EVENT_OUT
        * EXTI
*/
static void MX_GPIO_Init(void)
{

  GPIO_InitTypeDef GPIO_InitStruct;

  /* GPIO Ports Clock Enable */
  __HAL_RCC_GPIOE_CLK_ENABLE();
  __HAL_RCC_GPIOC_CLK_ENABLE();
  __HAL_RCC_GPIOF_CLK_ENABLE();
  __HAL_RCC_GPIOA_CLK_ENABLE();
  __HAL_RCC_GPIOB_CLK_ENABLE();
  __HAL_RCC_GPIOD_CLK_ENABLE();

  /*Configure GPIO pin Output Level */
  HAL_GPIO_WritePin(GPIOB, GPIO_PIN_11|Red_LED_Pin|Blue_LED_Pin, GPIO_PIN_RESET);

  /*Configure GPIO pin Output Level */
  HAL_GPIO_WritePin(GPIOC, GPIO_PIN_8|GPIO_PIN_9|GPIO_PIN_10|GPIO_PIN_11
                          |GPIO_PIN_12, GPIO_PIN_RESET);

  /*Configure GPIO pin Output Level */
  HAL_GPIO_WritePin(GPIOD, GPIO_PIN_2, GPIO_PIN_RESET);

  /*Configure GPIO pins : GPIO_EXTI3_Pin GPIO_EXTI4_Pin GPIO_EXTI5_Pin GPIO_EXTI6_Pin */
  GPIO_InitStruct.Pin = GPIO_EXTI3_Pin|GPIO_EXTI4_Pin|GPIO_EXTI5_Pin|GPIO_EXTI6_Pin;
  GPIO_InitStruct.Mode = GPIO_MODE_IT_RISING;
  GPIO_InitStruct.Pull = GPIO_PULLUP;
  HAL_GPIO_Init(GPIOE, &GPIO_InitStruct);

  /*Configure GPIO pin : User_Button_Pin */
  GPIO_InitStruct.Pin = User_Button_Pin;
  GPIO_InitStruct.Mode = GPIO_MODE_INPUT;
  GPIO_InitStruct.Pull = GPIO_PULLUP;
  HAL_GPIO_Init(User_Button_GPIO_Port, &GPIO_InitStruct);

  /*Configure GPIO pins : GPIO_EXTI7_Pin GPIO_EXTI8_Pin GPIO_EXTI9_Pin */
  GPIO_InitStruct.Pin = GPIO_EXTI7_Pin|GPIO_EXTI8_Pin|GPIO_EXTI9_Pin;
  GPIO_InitStruct.Mode = GPIO_MODE_IT_RISING;
  GPIO_InitStruct.Pull = GPIO_PULLUP;
  HAL_GPIO_Init(GPIOF, &GPIO_InitStruct);

  /*Configure GPIO pin : PB11 */
  GPIO_InitStruct.Pin = GPIO_PIN_11;
  GPIO_InitStruct.Mode = GPIO_MODE_OUTPUT_OD;
  GPIO_InitStruct.Pull = GPIO_NOPULL;
  GPIO_InitStruct.Speed = GPIO_SPEED_FREQ_HIGH;
  HAL_GPIO_Init(GPIOB, &GPIO_InitStruct);

  /*Configure GPIO pins : Red_LED_Pin Blue_LED_Pin */
  GPIO_InitStruct.Pin = Red_LED_Pin|Blue_LED_Pin;
  GPIO_InitStruct.Mode = GPIO_MODE_OUTPUT_PP;
  GPIO_InitStruct.Pull = GPIO_NOPULL;
  GPIO_InitStruct.Speed = GPIO_SPEED_FREQ_LOW;
  HAL_GPIO_Init(GPIOB, &GPIO_InitStruct);

  /*Configure GPIO pins : PC8 PC9 PC10 PC11
                           PC12 */
  GPIO_InitStruct.Pin = GPIO_PIN_8|GPIO_PIN_9|GPIO_PIN_10|GPIO_PIN_11
                          |GPIO_PIN_12;
  GPIO_InitStruct.Mode = GPIO_MODE_OUTPUT_PP;
  GPIO_InitStruct.Pull = GPIO_NOPULL;
  GPIO_InitStruct.Speed = GPIO_SPEED_FREQ_LOW;
  HAL_GPIO_Init(GPIOC, &GPIO_InitStruct);

  /*Configure GPIO pin : PD2 */
  GPIO_InitStruct.Pin = GPIO_PIN_2;
  GPIO_InitStruct.Mode = GPIO_MODE_OUTPUT_PP;
  GPIO_InitStruct.Pull = GPIO_NOPULL;
  GPIO_InitStruct.Speed = GPIO_SPEED_FREQ_LOW;
  HAL_GPIO_Init(GPIOD, &GPIO_InitStruct);

  /* EXTI interrupt init*/
  HAL_NVIC_SetPriority(EXTI3_IRQn, 0, 0);
  HAL_NVIC_EnableIRQ(EXTI3_IRQn);

  HAL_NVIC_SetPriority(EXTI4_IRQn, 0, 0);
  HAL_NVIC_EnableIRQ(EXTI4_IRQn);

  HAL_NVIC_SetPriority(EXTI9_5_IRQn, 0, 0);
  HAL_NVIC_EnableIRQ(EXTI9_5_IRQn);

}

void _Error_Handler(char *file, int line)
{
  while(1)
  {
  }
}

/************************ (C) COPYRIGHT STMicroelectronics *****END OF FILE****/
